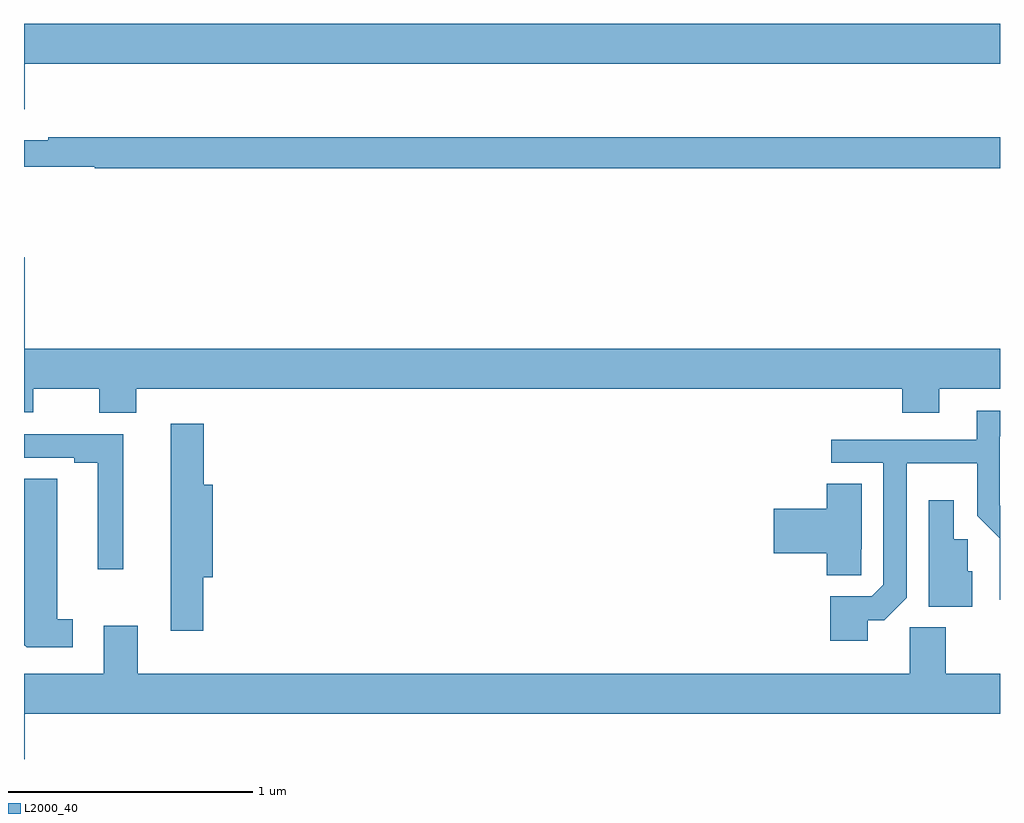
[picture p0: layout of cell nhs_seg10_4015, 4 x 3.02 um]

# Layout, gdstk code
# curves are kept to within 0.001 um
import gdstk
lib = gdstk.Library(unit=1e-6, precision=1e-09)
def P(c, l, *ps):  # polygons
    for p in ps: c.add(gdstk.Polygon(p, *l))
L2000_40 = (2000, 40)

nhs_seg10_4015 = lib.new_cell('nhs_seg10_4015')
P(nhs_seg10_4015, L2000_40, [(333.004,1269.68),(337,1269.68),(337,1269.844),(333,1269.844),(333,1269.492),(333.004,1269.492)],
  [(337,1269.379),(333.1,1269.379),(333.1,1269.366),(333,1269.366),(333,1269.258),(333.29,1269.258),(333.29,1269.25),(337,1269.25)],
  [(333.461,1268.348),(336.599,1268.348),(336.599,1268.249),(336.751,1268.249),(336.751,1268.348),(337,1268.348),(337,1268.512),(333.004,1268.512),(333.004,1268.887),(333,1268.887),(333,1268.25),(333.037,1268.25),(333.037,1268.348),(333.308,1268.348),(333.308,1268.249),(333.461,1268.249)],
  [(336.457,1267.399),(336.525,1267.399),(336.618,1267.491),(336.618,1268.042),(336.906,1268.042),(336.906,1267.826),(336.998,1267.734),(336.998,1267.482),(337,1267.482),(337,1268.257),(336.905,1268.257),(336.905,1268.139),(336.309,1268.139),(336.309,1268.043),(336.522,1268.043),(336.522,1267.545),(336.474,1267.497),(336.305,1267.497),(336.305,1267.314),(336.457,1267.314)],
  [(333.734,1267.574),(333.773,1267.574),(333.773,1267.954),(333.737,1267.954),(333.737,1268.203),(333.602,1268.203),(333.602,1267.356),(333.734,1267.356)],
  [(333.406,1268.16),(333,1268.16),(333,1268.064),(333.206,1268.064),(333.206,1268.044),(333.302,1268.044),(333.302,1267.608),(333.406,1267.608)],
  [(333.199,1267.403),(333.136,1267.403),(333.136,1267.979),(333.002,1267.979),(333.002,1267.297),(333.012,1267.287),(333.199,1267.287)],
  [(336.432,1267.69),(336.433,1267.69),(336.433,1267.958),(336.29,1267.958),(336.29,1267.856),(336.072,1267.856),(336.072,1267.673),(336.29,1267.673),(336.29,1267.582),(336.432,1267.582)],
  [(336.886,1267.599),(336.867,1267.599),(336.867,1267.731),(336.811,1267.731),(336.811,1267.891),(336.707,1267.891),(336.707,1267.454),(336.886,1267.454)],
  [(333.004,1267.016),(337,1267.016),(337,1267.18),(336.777,1267.18),(336.777,1267.369),(336.63,1267.369),(336.63,1267.18),(333.466,1267.18),(333.466,1267.375),(333.326,1267.375),(333.326,1267.18),(333,1267.18),(333,1266.828),(333.004,1266.828)])

lib.write_gds('nhs_seg10_4015.gds')
